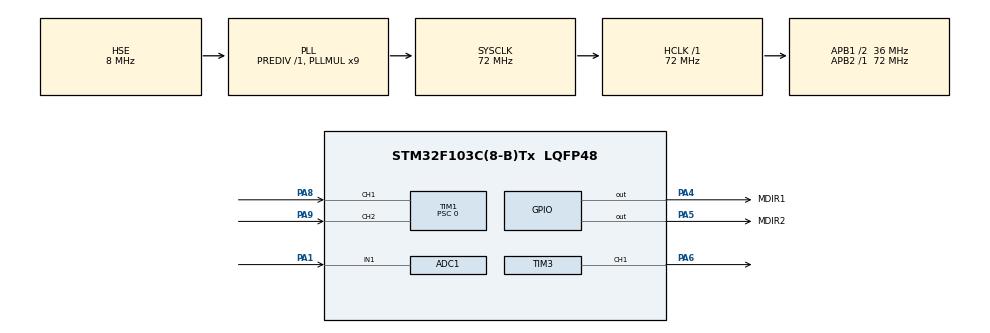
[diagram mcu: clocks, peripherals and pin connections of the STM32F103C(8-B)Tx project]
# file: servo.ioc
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Mcu.Family=STM32F1
RCC.PLLSourceVirtual=RCC_PLLSOURCE_HSE
Dma.ADC1.0.Instance=DMA1_Channel1
ADC1.Rank-0\#ChannelRegularConversion=1
PD1-OSC_OUT.Mode=HSE-External-Oscillator
ADC1.ContinuousConvMode=DISABLE
PD0-OSC_IN.Signal=RCC_OSC_IN
RCC.APB1CLKDivider=RCC_HCLK_DIV2
PA9.GPIO_PuPd=GPIO_NOPULL
RCC.SYSCLKSource=RCC_SYSCLKSOURCE_PLLCLK
ProjectManager.StackSize=0x400
PD1-OSC_OUT.Signal=RCC_OSC_OUT
RCC.ADCPresc=RCC_ADCPCLK2_DIV6
PA13.Signal=SYS_JTMS-SWDIO
Dma.ADC1.0.PeriphDataAlignment=DMA_PDATAALIGN_HALFWORD
TIM1.Prescaler=0
SH.S_TIM1_CH1.0=TIM1_CH1,Encoder_Interface
ProjectManager.TargetToolchain=STM32CubeIDE
Dma.ADC1.0.Mode=DMA_CIRCULAR
RCC.HCLKFreq_Value=72000000
Dma.ADC1.0.Priority=DMA_PRIORITY_LOW
RCC.APB2TimFreq_Value=72000000
TIM3.Period=1000-1
PA9.Signal=S_TIM1_CH2
Dma.ADC1.0.Direction=DMA_PERIPH_TO_MEMORY
TIM2.Channel-Output\ Compare2\ No\ Output=TIM_CHANNEL_2
RCC.USBFreq_Value=72000000
Dma.ADC1.0.MemDataAlignment=DMA_MDATAALIGN_HALFWORD
PA1.Signal=ADCx_IN1
RCC.AHBFreq_Value=72000000
TIM3.Channel-PWM\ Generation1\ CH1=TIM_CHANNEL_1
PD0-OSC_IN.Mode=HSE-External-Oscillator
PA5.Signal=GPIO_Output
ADC1.Channel-0\#ChannelRegularConversion=ADC_CHANNEL_1
PA4.GPIO_PuPd=GPIO_PULLUP
board=custom
RCC.PLLMUL=RCC_PLL_MUL9
RCC.APB2Freq_Value=72000000
SH.S_TIM1_CH2.0=TIM1_CH2,Encoder_Interface
VP_TIM2_VS_ClockSourceINT.Mode=Internal
PA14.Mode=Serial_Wire
TIM3.Prescaler=0
PA5.GPIO_PuPd=GPIO_PULLUP
Dma.ADC1.0.PeriphInc=DMA_PINC_DISABLE
PA8.Signal=S_TIM1_CH1
SH.S_TIM3_CH1.0=TIM3_CH1,PWM Generation1 CH1
TIM2.Period=200-1
ADC1.NbrOfConversion=1
PA13.Mode=Serial_Wire
VP_TIM2_VS_no_output2.Mode=Output Compare2 No Output
Mcu.Name=STM32F103C(8-B)Tx
ADC1.SamplingTime-0\#ChannelRegularConversion=ADC_SAMPLETIME_1CYCLE_5
ADC1.ExternalTrigConv=ADC_EXTERNALTRIGCONV_T2_CC2
PA4.Signal=GPIO_Output
RCC.SYSCLKFreq_VALUE=72000000
Mcu.Package=LQFP48
TIM2.Prescaler=7200-1
TIM2.OCMode_2=TIM_OCMODE_TOGGLE
PA6.Signal=S_TIM3_CH1
TIM2.Pulse-Output\ Compare2\ No\ Output=0
ADC1.master=1
PA5.GPIO_Label=MDIR2
PA14.Signal=SYS_JTCK-SWCLK
Dma.ADC1.0.MemInc=DMA_MINC_ENABLE
ProjectManager.HeapSize=0x200
PA8.GPIO_PuPd=GPIO_NOPULL
NVIC.PriorityGroup=NVIC_PRIORITYGROUP_4
TIM2.TIM_MasterOutputTrigger=TIM_TRGO_RESET
ADC1.NbrOfConversionFlag=1
SH.ADCx_IN1.0=ADC1_IN1,IN1
RCC.APB1TimFreq_Value=72000000
TIM1.Period=65535
NVIC.DMA1_Channel1_IRQn=true\:0\:0\:false\:false\:true\:false\:true
Dma.Request0=ADC1
RCC.APB1Freq_Value=36000000
PA4.GPIO_Label=MDIR1
VP_TIM3_VS_ClockSourceINT.Mode=Internal

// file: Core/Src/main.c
/* USER CODE BEGIN Header */
/**
  ******************************************************************************
  * @file           : main.c
  * @brief          : Main program body
  ******************************************************************************
  * @attention
  *
  * <h2><center>&copy; Copyright (c) 2021 STMicroelectronics.
  * All rights reserved.</center></h2>
  *
  * This software component is licensed by ST under BSD 3-Clause license,
  * the "License"; You may not use this file except in compliance with the
  * License. You may obtain a copy of the License at:
  *                        opensource.org/licenses/BSD-3-Clause
  *
  ******************************************************************************
  */
/* USER CODE END Header */
#include "main.h"

/* USER CODE BEGIN PD */
#define ABS(x) ((x) > 0 ? (x) : -(x))

#define ADC_RES 4095 // разрешение АЦП
#define MOT_WAY 1400 // отсчётов энкодера на один оборот выходного вала

// коэфф. перевода положения потенциометра в положение выходного вала
#define POT_SCALE MOT_WAY/ADC_RES

#define PID_MAX 1000 // макс. величина управляющего сигнала

// коэффициенты PID
#define PID_KP 480
#define PID_KI 3
#define PID_KD 0
#define PID_DIV 8 // деление на 256

/* USER CODE END PD */

ADC_HandleTypeDef hadc1;
DMA_HandleTypeDef hdma_adc1;

TIM_HandleTypeDef htim1;
TIM_HandleTypeDef htim2;
TIM_HandleTypeDef htim3;

/* USER CODE BEGIN PV */
uint16_t pot_adc;

int32_t pid_integral = 0;
int16_t pid_error = 0;

volatile uint8_t flag = 0;

/* USER CODE END PV */

void SystemClock_Config(void);
static void MX_GPIO_Init(void);
static void MX_DMA_Init(void);
static void MX_ADC1_Init(void);
static void MX_TIM2_Init(void);
static void MX_TIM3_Init(void);
static void MX_TIM1_Init(void);
/* USER CODE BEGIN PFP */
void setPWM(uint16_t value);
void motorToPos();
/* USER CODE END PFP */

int main(void)
{

  /* MCU Configuration--------------------------------------------------------*/

  /* Reset of all peripherals, Initializes the Flash interface and the Systick. */
  HAL_Init();

  /* Configure the system clock */
  SystemClock_Config();

  /* Initialize all configured peripherals */
  MX_GPIO_Init();
  MX_DMA_Init();
  MX_ADC1_Init();
  MX_TIM2_Init();
  MX_TIM3_Init();
  MX_TIM1_Init();
  /* USER CODE BEGIN 2 */

  HAL_ADCEx_Calibration_Start(&hadc1); // калибровка АЦП
  HAL_ADC_Start_DMA(&hadc1, (uint32_t*)&pot_adc, 1); // запуск DMA
  HAL_TIM_OC_Start(&htim2, TIM_CHANNEL_2); // запуск таймера для опроса АЦП
  HAL_TIM_Encoder_Start(&htim1, TIM_CHANNEL_ALL); // запуск энкодера
  /* USER CODE END 2 */

  /* Infinite loop */
  /* USER CODE BEGIN WHILE */

  // при пуске, установим счетчик в центральное положение
  __HAL_TIM_SET_COUNTER(&htim1, 32767);

  while (1)
  {
	  if(flag){
		  flag = 0;
		  // вызываем функцию регулирования
		  motorToPos();
	  }
    /* USER CODE END WHILE */

  }
}

void SystemClock_Config(void)
{
  RCC_OscInitTypeDef RCC_OscInitStruct = {0};
  RCC_ClkInitTypeDef RCC_ClkInitStruct = {0};
  RCC_PeriphCLKInitTypeDef PeriphClkInit = {0};

  /** Initializes the RCC Oscillators according to the specified parameters
  * in the RCC_OscInitTypeDef structure.
  */
  RCC_OscInitStruct.OscillatorType = RCC_OSCILLATORTYPE_HSE;
  RCC_OscInitStruct.HSEState = RCC_HSE_ON;
  RCC_OscInitStruct.HSEPredivValue = RCC_HSE_PREDIV_DIV1;
  RCC_OscInitStruct.HSIState = RCC_HSI_ON;
  RCC_OscInitStruct.PLL.PLLState = RCC_PLL_ON;
  RCC_OscInitStruct.PLL.PLLSource = RCC_PLLSOURCE_HSE;
  RCC_OscInitStruct.PLL.PLLMUL = RCC_PLL_MUL9;
  if (HAL_RCC_OscConfig(&RCC_OscInitStruct) != HAL_OK)
  {
    Error_Handler();
  }
  /** Initializes the CPU, AHB and APB buses clocks
  */
  RCC_ClkInitStruct.ClockType = RCC_CLOCKTYPE_HCLK|RCC_CLOCKTYPE_SYSCLK
                              |RCC_CLOCKTYPE_PCLK1|RCC_CLOCKTYPE_PCLK2;
  RCC_ClkInitStruct.SYSCLKSource = RCC_SYSCLKSOURCE_PLLCLK;
  RCC_ClkInitStruct.AHBCLKDivider = RCC_SYSCLK_DIV1;
  RCC_ClkInitStruct.APB1CLKDivider = RCC_HCLK_DIV2;
  RCC_ClkInitStruct.APB2CLKDivider = RCC_HCLK_DIV1;

  if (HAL_RCC_ClockConfig(&RCC_ClkInitStruct, FLASH_LATENCY_2) != HAL_OK)
  {
    Error_Handler();
  }
  PeriphClkInit.PeriphClockSelection = RCC_PERIPHCLK_ADC;
  PeriphClkInit.AdcClockSelection = RCC_ADCPCLK2_DIV6;
  if (HAL_RCCEx_PeriphCLKConfig(&PeriphClkInit) != HAL_OK)
  {
    Error_Handler();
  }
}

static void MX_ADC1_Init(void)
{

  ADC_ChannelConfTypeDef sConfig = {0};

  /** Common config
  */
  hadc1.Instance = ADC1;
  hadc1.Init.ScanConvMode = ADC_SCAN_DISABLE;
  hadc1.Init.ContinuousConvMode = DISABLE;
  hadc1.Init.DiscontinuousConvMode = DISABLE;
  hadc1.Init.ExternalTrigConv = ADC_EXTERNALTRIGCONV_T2_CC2;
  hadc1.Init.DataAlign = ADC_DATAALIGN_RIGHT;
  hadc1.Init.NbrOfConversion = 1;
  if (HAL_ADC_Init(&hadc1) != HAL_OK)
  {
    Error_Handler();
  }
  /** Configure Regular Channel
  */
  sConfig.Channel = ADC_CHANNEL_1;
  sConfig.Rank = ADC_REGULAR_RANK_1;
  sConfig.SamplingTime = ADC_SAMPLETIME_1CYCLE_5;
  if (HAL_ADC_ConfigChannel(&hadc1, &sConfig) != HAL_OK)
  {
    Error_Handler();
  }

}

static void MX_TIM1_Init(void)
{

  TIM_Encoder_InitTypeDef sConfig = {0};
  TIM_MasterConfigTypeDef sMasterConfig = {0};

  htim1.Instance = TIM1;
  htim1.Init.Prescaler = 0;
  htim1.Init.CounterMode = TIM_COUNTERMODE_UP;
  htim1.Init.Period = 65535;
  htim1.Init.ClockDivision = TIM_CLOCKDIVISION_DIV1;
  htim1.Init.RepetitionCounter = 0;
  htim1.Init.AutoReloadPreload = TIM_AUTORELOAD_PRELOAD_DISABLE;
  sConfig.EncoderMode = TIM_ENCODERMODE_TI1;
  sConfig.IC1Polarity = TIM_ICPOLARITY_RISING;
  sConfig.IC1Selection = TIM_ICSELECTION_DIRECTTI;
  sConfig.IC1Prescaler = TIM_ICPSC_DIV1;
  sConfig.IC1Filter = 0;
  sConfig.IC2Polarity = TIM_ICPOLARITY_RISING;
  sConfig.IC2Selection = TIM_ICSELECTION_DIRECTTI;
  sConfig.IC2Prescaler = TIM_ICPSC_DIV1;
  sConfig.IC2Filter = 0;
  if (HAL_TIM_Encoder_Init(&htim1, &sConfig) != HAL_OK)
  {
    Error_Handler();
  }
  sMasterConfig.MasterOutputTrigger = TIM_TRGO_RESET;
  sMasterConfig.MasterSlaveMode = TIM_MASTERSLAVEMODE_DISABLE;
  if (HAL_TIMEx_MasterConfigSynchronization(&htim1, &sMasterConfig) != HAL_OK)
  {
    Error_Handler();
  }

}

static void MX_TIM2_Init(void)
{

  TIM_ClockConfigTypeDef sClockSourceConfig = {0};
  TIM_MasterConfigTypeDef sMasterConfig = {0};
  TIM_OC_InitTypeDef sConfigOC = {0};

  htim2.Instance = TIM2;
  htim2.Init.Prescaler = 7200-1;
  htim2.Init.CounterMode = TIM_COUNTERMODE_UP;
  htim2.Init.Period = 200-1;
  htim2.Init.ClockDivision = TIM_CLOCKDIVISION_DIV1;
  htim2.Init.AutoReloadPreload = TIM_AUTORELOAD_PRELOAD_DISABLE;
  if (HAL_TIM_Base_Init(&htim2) != HAL_OK)
  {
    Error_Handler();
  }
  sClockSourceConfig.ClockSource = TIM_CLOCKSOURCE_INTERNAL;
  if (HAL_TIM_ConfigClockSource(&htim2, &sClockSourceConfig) != HAL_OK)
  {
    Error_Handler();
  }
  if (HAL_TIM_OC_Init(&htim2) != HAL_OK)
  {
    Error_Handler();
  }
  sMasterConfig.MasterOutputTrigger = TIM_TRGO_RESET;
  sMasterConfig.MasterSlaveMode = TIM_MASTERSLAVEMODE_DISABLE;
  if (HAL_TIMEx_MasterConfigSynchronization(&htim2, &sMasterConfig) != HAL_OK)
  {
    Error_Handler();
  }
  sConfigOC.OCMode = TIM_OCMODE_TOGGLE;
  sConfigOC.Pulse = 0;
  sConfigOC.OCPolarity = TIM_OCPOLARITY_HIGH;
  sConfigOC.OCFastMode = TIM_OCFAST_DISABLE;
  if (HAL_TIM_OC_ConfigChannel(&htim2, &sConfigOC, TIM_CHANNEL_2) != HAL_OK)
  {
    Error_Handler();
  }

}

static void MX_TIM3_Init(void)
{

  TIM_ClockConfigTypeDef sClockSourceConfig = {0};
  TIM_MasterConfigTypeDef sMasterConfig = {0};
  TIM_OC_InitTypeDef sConfigOC = {0};

  htim3.Instance = TIM3;
  htim3.Init.Prescaler = 0;
  htim3.Init.CounterMode = TIM_COUNTERMODE_UP;
  htim3.Init.Period = 1000-1;
  htim3.Init.ClockDivision = TIM_CLOCKDIVISION_DIV1;
  htim3.Init.AutoReloadPreload = TIM_AUTORELOAD_PRELOAD_DISABLE;
  if (HAL_TIM_Base_Init(&htim3) != HAL_OK)
  {
    Error_Handler();
  }
  sClockSourceConfig.ClockSource = TIM_CLOCKSOURCE_INTERNAL;
  if (HAL_TIM_ConfigClockSource(&htim3, &sClockSourceConfig) != HAL_OK)
  {
    Error_Handler();
  }
  if (HAL_TIM_PWM_Init(&htim3) != HAL_OK)
  {
    Error_Handler();
  }
  sMasterConfig.MasterOutputTrigger = TIM_TRGO_RESET;
  sMasterConfig.MasterSlaveMode = TIM_MASTERSLAVEMODE_DISABLE;
  if (HAL_TIMEx_MasterConfigSynchronization(&htim3, &sMasterConfig) != HAL_OK)
  {
    Error_Handler();
  }
  sConfigOC.OCMode = TIM_OCMODE_PWM1;
  sConfigOC.Pulse = 0;
  sConfigOC.OCPolarity = TIM_OCPOLARITY_HIGH;
  sConfigOC.OCFastMode = TIM_OCFAST_DISABLE;
  if (HAL_TIM_PWM_ConfigChannel(&htim3, &sConfigOC, TIM_CHANNEL_1) != HAL_OK)
  {
    Error_Handler();
  }
  HAL_TIM_MspPostInit(&htim3);

}

static void MX_DMA_Init(void)
{

  /* DMA controller clock enable */
  __HAL_RCC_DMA1_CLK_ENABLE();

  /* DMA interrupt init */
  /* DMA1_Channel1_IRQn interrupt configuration */
  HAL_NVIC_SetPriority(DMA1_Channel1_IRQn, 0, 0);
  HAL_NVIC_EnableIRQ(DMA1_Channel1_IRQn);

}

static void MX_GPIO_Init(void)
{
  GPIO_InitTypeDef GPIO_InitStruct = {0};

  /* GPIO Ports Clock Enable */
  __HAL_RCC_GPIOD_CLK_ENABLE();
  __HAL_RCC_GPIOA_CLK_ENABLE();

  /*Configure GPIO pin Output Level */
  HAL_GPIO_WritePin(GPIOA, MDIR1_Pin|MDIR2_Pin, GPIO_PIN_RESET);

  /*Configure GPIO pins : MDIR1_Pin MDIR2_Pin */
  GPIO_InitStruct.Pin = MDIR1_Pin|MDIR2_Pin;
  GPIO_InitStruct.Mode = GPIO_MODE_OUTPUT_PP;
  GPIO_InitStruct.Pull = GPIO_PULLUP;
  GPIO_InitStruct.Speed = GPIO_SPEED_FREQ_LOW;
  HAL_GPIO_Init(GPIOA, &GPIO_InitStruct);

}

/* USER CODE BEGIN 4 */
// функция установки PWM сигнала
void setPWM(uint16_t value){
	TIM_OC_InitTypeDef sConfigOC;

   	HAL_TIM_PWM_Stop(&htim3, TIM_CHANNEL_1);

    sConfigOC.OCMode = TIM_OCMODE_PWM1;
    sConfigOC.Pulse = value;
    sConfigOC.OCPolarity = TIM_OCPOLARITY_HIGH;
    sConfigOC.OCFastMode = TIM_OCFAST_DISABLE;

    HAL_TIM_PWM_ConfigChannel(&htim3, &sConfigOC, TIM_CHANNEL_1);
   	HAL_TIM_PWM_Start(&htim3, TIM_CHANNEL_1);
}

// функция регулирования
void motorToPos(){
    // переводим поворот потенциометра в положение выходного вала
	uint16_t pos = pot_adc*POT_SCALE;

	// защита от переполнения счётчика
	// пусть счётчик считает в стороны от нуля: ..., -2, -1, 0 , 1, 2, ...
	int16_t current_pos = __HAL_TIM_GET_COUNTER(&htim1) - 32767;

	// вычисляем ошибку
	int16_t error = pos - current_pos;

	// собираем интеграл
	pid_integral += error;

	// вычисляем величину управляющего воздействия как сумму P, I и D компонентов
	int32_t ctrl = PID_KP * error + PID_KI*pid_integral + PID_KD*(error-pid_error);

	// применяем делитель
	ctrl >>= PID_DIV;

	// сохраняем ошибку для следующей итерации
	pid_error = error;

	// убираем знак у сигнала
	ctrl = ABS( ctrl );

	// накладываем ограничения на вычисленный сигнал
	if( ctrl > PID_MAX ){
		ctrl = PID_MAX;
	}

	// применяем управляющий сигнал к Ш�?М
	setPWM( ctrl );

	// устаналиваем направление вращения, в зависимости от ошибки
	if( error > 0 ){
		HAL_GPIO_WritePin(MDIR1_GPIO_Port, MDIR1_Pin, GPIO_PIN_SET);
		HAL_GPIO_WritePin(MDIR2_GPIO_Port, MDIR2_Pin, GPIO_PIN_RESET);
	} else {
		HAL_GPIO_WritePin(MDIR1_GPIO_Port, MDIR1_Pin, GPIO_PIN_RESET);
		HAL_GPIO_WritePin(MDIR2_GPIO_Port, MDIR2_Pin, GPIO_PIN_SET);
	}
}

void HAL_ADC_ConvCpltCallback(ADC_HandleTypeDef* hadc){
	if(hadc->Instance == ADC1){
		flag = 1;
    }
}
/* USER CODE END 4 */

void Error_Handler(void)
{
  __disable_irq();
  while (1)
  {
  }
}

/************************ (C) COPYRIGHT STMicroelectronics *****END OF FILE****/
